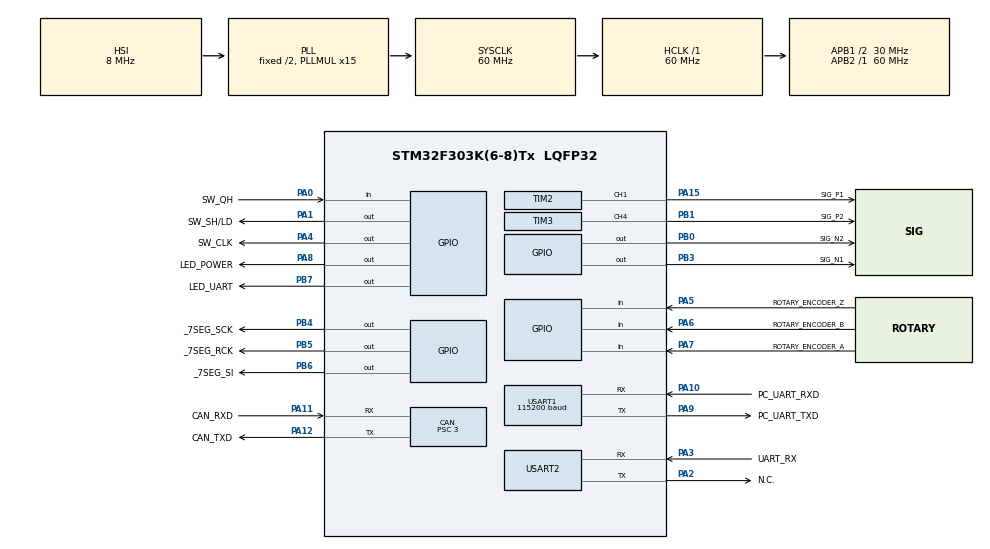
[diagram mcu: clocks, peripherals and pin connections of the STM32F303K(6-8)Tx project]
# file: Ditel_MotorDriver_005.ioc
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CAN.BS1=CAN_BS1_7TQ
CAN.BS2=CAN_BS2_2TQ
CAN.CalculateBaudRate=1000000
CAN.CalculateTimeBit=1000
CAN.CalculateTimeQuantum=100.0
CAN.Prescaler=3
Mcu.Family=STM32F3
Mcu.Name=STM32F303K(6-8)Tx
Mcu.Package=LQFP32
NVIC.CAN_RX0_IRQn=true\:0\:0\:false\:false\:true\:true\:true\:true
NVIC.PriorityGroup=NVIC_PRIORITYGROUP_4
NVIC.USART1_IRQn=true\:0\:0\:false\:false\:true\:true\:true\:true
PA0.GPIO_Label=SW_QH
PA0.Signal=GPIO_Input
PA1.GPIO_Label=SW_SH/LD
PA1.Signal=GPIO_Output
PA10.GPIO_Label=PC_UART_RXD
PA10.Mode=Multiprocessor_communication
PA10.Signal=USART1_RX
PA11.GPIO_Label=CAN_RXD
PA11.Mode=CAN_Activate
PA11.Signal=CAN_RX
PA12.GPIO_Label=CAN_TXD
PA12.Mode=CAN_Activate
PA12.Signal=CAN_TX
PA15.GPIO_Label=SIG_P1
PA15.Signal=S_TIM2_CH1_ETR
PA2.GPIO_Label=N.C.
PA2.Mode=Multiprocessor_communication
PA2.Signal=USART2_TX
PA3.GPIO_Label=UART_RX
PA3.Mode=Multiprocessor_communication
PA3.Signal=USART2_RX
PA4.GPIO_Label=SW_CLK
PA4.Signal=GPIO_Output
PA5.GPIO_Label=ROTARY_ENCODER_Z
PA5.Signal=GPIO_Input
PA6.GPIO_Label=ROTARY_ENCODER_B
PA6.Signal=GPIO_Input
PA7.GPIO_Label=ROTARY_ENCODER_A
PA7.Signal=GPIO_Input
PA8.GPIO_Label=LED_POWER
PA8.Signal=GPIO_Output
PA9.GPIO_Label=PC_UART_TXD
PA9.Mode=Multiprocessor_communication
PA9.Signal=USART1_TX
PB0.GPIO_Label=SIG_N2
PB0.Signal=GPIO_Output
PB1.GPIO_Label=SIG_P2
PB1.Signal=S_TIM3_CH4
PB3.GPIO_Label=SIG_N1
PB3.Signal=GPIO_Output
PB4.GPIO_Label=_7SEG_SCK
PB4.Signal=GPIO_Output
PB5.GPIO_Label=_7SEG_RCK
PB5.Signal=GPIO_Output
PB6.GPIO_Label=_7SEG_SI
PB6.Signal=GPIO_Output
PB7.GPIO_Label=LED_UART
PB7.Signal=GPIO_Output
ProjectManager.HeapSize=0x200
ProjectManager.StackSize=0x400
ProjectManager.TargetToolchain=STM32CubeIDE
RCC.AHBFreq_Value=60000000
RCC.APB1CLKDivider=RCC_HCLK_DIV2
RCC.APB1Freq_Value=30000000
RCC.APB1TimFreq_Value=60000000
RCC.APB2Freq_Value=60000000
RCC.APB2TimFreq_Value=60000000
RCC.CortexFreq_Value=60000000
RCC.HCLKFreq_Value=60000000
RCC.HSE_VALUE=8000000
RCC.HSI_VALUE=8000000
RCC.PLLMUL=RCC_PLL_MUL15
RCC.SYSCLKFreq_VALUE=60000000
RCC.SYSCLKSourceVirtual=RCC_SYSCLKSOURCE_PLLCLK
SH.S_TIM2_CH1_ETR.0=TIM2_CH1,PWM Generation1 CH1
SH.S_TIM3_CH4.0=TIM3_CH4,PWM Generation4 CH4
TIM1.Period=0xffff-1
TIM1.Prescaler=6-1
TIM2.Channel-PWM\ Generation1\ CH1=TIM_CHANNEL_1
TIM2.Period=60000-1
TIM2.Prescaler=0
TIM3.Channel-PWM\ Generation4\ CH4=TIM_CHANNEL_4
TIM3.Period=60000-1
USART1.BaudRate=115200
USART1.VirtualMode-Multiprocessor_communication=VM_ASYNC
USART2.VirtualMode-Multiprocessor_communication=VM_ASYNC
VP_TIM1_VS_ClockSourceINT.Mode=Internal
VP_TIM2_VS_ClockSourceINT.Mode=Internal
VP_TIM3_VS_ClockSourceINT.Mode=Internal
board=custom

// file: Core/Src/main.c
/* USER CODE BEGIN Header */
/**
  ******************************************************************************
  * @file           : main.c
  * @brief          : Main program body
  ******************************************************************************
  * @attention
  *
  * Copyright (c) 2024 STMicroelectronics.
  * All rights reserved.
  *
  * This software is licensed under terms that can be found in the LICENSE file
  * in the root directory of this software component.
  * If no LICENSE file comes with this software, it is provided AS-IS.
  *
  ******************************************************************************
  */
/* USER CODE END Header */
#include "main.h"

/* USER CODE BEGIN Includes */
#include <math.h>
/* USER CODE END Includes */

CAN_HandleTypeDef hcan;

TIM_HandleTypeDef htim1;
TIM_HandleTypeDef htim2;
TIM_HandleTypeDef htim3;

UART_HandleTypeDef huart1;
UART_HandleTypeDef huart2;

/* USER CODE BEGIN PV */
_7SEG_SETTING Setting_7Seg;
_MOTOR_SETTING Setting_Motor;
_SWITCH_SETTING Setting_Swich;
_CONSOLE_SETTING Setting_Console;
_ROTARY_ENCODER_SETTING Setting_RotaryEncoder;
_PID_SETTING Setting_PID;

_SWITCH_READ_DATA SwitchReadData;
_PID_INFOMATION_AND_RESULT PidInfoAndResult;

CAN_FilterTypeDef canFilter;

uint8_t myAddress;
uint8_t commandData[7];
uint32_t lastCommandGetTime;

CAN_RxHeaderTypeDef RxHeader;
uint8_t RxData[8];
uint8_t RxCanFlag = 0;

bool PID_ConsolDebug = true;
bool PID_isEnable = false;
__MOTOR_MODE PID_nowMotorMode = _MOTOR_MODE_NEUTRAL;
__MOTOR_MODE PID_lastMotorMode = _MOTOR_MODE_NEUTRAL;
uint16_t PID_MotorValue = 0;
_ROTARY_ENCODER_RESULT rotaryEncoderResult;
uint32_t _loopCheckCounter = 0;
uint32_t _readTimeForLoopCycle, _lastReadTimeForLoopCycle;

uint8_t lastError = 0x00;

__MOTOR_MODE nowMotorMode = _MOTOR_MODE_NEUTRAL;
uint16_t nowMotorSpeed = 0;
uint32_t nowMotorSpeedRef = 0;

__MOTOR_MODE refMotorMode_not_PID = _MOTOR_MODE_NEUTRAL;
uint16_t refMotorSpeed_not_PID = 0;

/* USER CODE END PV */

void SystemClock_Config(void);
static void MX_GPIO_Init(void);
static void MX_CAN_Init(void);
static void MX_USART1_UART_Init(void);
static void MX_USART2_UART_Init(void);
static void MX_TIM2_Init(void);
static void MX_TIM3_Init(void);
static void MX_TIM1_Init(void);
/* USER CODE BEGIN PFP */
void Init(){
	uint32_t _lastReadTick;

	//Start Program
	_Init_7Seg();
	_7SegReset();

	_7SegSetUpAnimation(_SETUP_STEP_START_PROGRAM);
	_lastReadTick = HAL_GetTick();

	//Init Motor
	_Init_Motor();

	_lastReadTick = _AccurateDelay(200, _lastReadTick);
	_7SegSetUpAnimation(_SETUP_STEP_SETUP_MOTOR);

	//Init Switch And Read State
	_Init_Switch();

	_lastReadTick = _AccurateDelay(200, _lastReadTick);
	_7SegSetUpAnimation(_SETUP_STEP_SETUP_AND_READ_SWICH);

	myAddress = SwitchReadData._Address;	//get my Address

	//Init Console
	_Init_Console();

	_lastReadTick = _AccurateDelay(200, _lastReadTick);
	_7SegSetUpAnimation(_SETUP_STEP_SETUP_CONSOLE);

	//Init Rotary Encoder
	_Init_RotaryEncoder();

	_lastReadTick = _AccurateDelay(200, _lastReadTick);
	_7SegSetUpAnimation(_SETUP_STEP_SETUP_ROTARY_ENCODER);

	//Init PID
	_Init_PID();

	_lastReadTick = _AccurateDelay(200, _lastReadTick);
	_7SegSetUpAnimation(_SETUP_STEP_SETUP_PID);

	//Init CAN
	_Init_CAN();

	_lastReadTick = _AccurateDelay(200, _lastReadTick);
	_7SegSetUpAnimation(_SETUP_STEP_SETUO_CAN);

	_lastReadTick = _AccurateDelay(200, _lastReadTick);
	_7SegSetUpAnimation(_SETUP_STEP_NULL6);

	_lastReadTick = _AccurateDelay(200, _lastReadTick);
	_7SegSetUpAnimation(_SETUP_STEP_FINISH);

	_lastReadTick = _AccurateDelay(200, _lastReadTick);
	_7SegReset();

	_lastReadTick = _AccurateDelay(200, _lastReadTick);
}

void _Init_7Seg(){
	Setting_7Seg.__7SegSi_GpioPort = _7SEG_SI_GPIO_Port;
	Setting_7Seg.__7SegSi_Pin = _7SEG_SI_Pin;
	Setting_7Seg.__7SegRck_GpioPort = _7SEG_RCK_GPIO_Port;
	Setting_7Seg.__7SegRck_Pin = _7SEG_RCK_Pin;
	Setting_7Seg.__7SegSck_GpioPort = _7SEG_SCK_GPIO_Port;
	Setting_7Seg.__7SegSck_Pin = _7SEG_SCK_Pin;

	_7SegInit(&Setting_7Seg);
	_7SegReset();
}

void _Init_Motor(){
	Setting_Motor.__MotorP1_Tim = &htim2;
	Setting_Motor.__MotorP1_TimChannel = TIM_CHANNEL_1;
	Setting_Motor.__MotorP2_Tim = &htim3;
	Setting_Motor.__MotorP2_TimChannel = TIM_CHANNEL_4;

	Setting_Motor.__MotorN1_GpioPort = SIG_N1_GPIO_Port;
	Setting_Motor.__MotorN1_Pin = SIG_N1_Pin;
	Setting_Motor.__MotorN2_GpioPort = SIG_N2_GPIO_Port;
	Setting_Motor.__MotorN2_Pin = SIG_N2_Pin;

	Setting_Motor.__DeadTime_TIM = &htim1;

	_MotorInit(&Setting_Motor);
}

void _Init_Switch(){
	Setting_Swich.__ShiftRegisterClk_GpioPort = SW_CLK_GPIO_Port;
	Setting_Swich.__ShiftRegisterClk_Pin = SW_CLK_Pin;
	Setting_Swich.__ShiftRegisterQh_GpioPort = SW_QH_GPIO_Port;
	Setting_Swich.__ShiftRegisterQh_Pin = SW_QH_Pin;
	Setting_Swich.__ShiftRegisterShLd_GpioPort = SW_SH_LD_GPIO_Port;
	Setting_Swich.__ShiftRegisterShLd_Pin = SW_SH_LD_Pin;

	_SwitchInit(&Setting_Swich);
	_SwitchRead(&SwitchReadData);
}

void _Init_Console(){
	Setting_Console.__PcUart = &huart1;

	_ConsoleInit(&Setting_Console);
}

void _Init_RotaryEncoder(){
	Setting_RotaryEncoder.__RotaryEncoderA_GpioPort = ROTARY_ENCODER_A_GPIO_Port;
	Setting_RotaryEncoder.__RotaryEncoderA_Pin = ROTARY_ENCODER_A_Pin;
	Setting_RotaryEncoder.__RotaryEncoderB_GpioPort = ROTARY_ENCODER_B_GPIO_Port;
	Setting_RotaryEncoder.__RotaryEncoderB_Pin = ROTARY_ENCODER_B_Pin;
	Setting_RotaryEncoder.__RotaryEncoderZ_GpioPort = ROTARY_ENCODER_Z_GPIO_Port;
	Setting_RotaryEncoder.__RotaryEncoderZ_Pin = ROTARY_ENCODER_Z_Pin;

	Setting_RotaryEncoder.__MesureTime_TIM = &htim1;

	_RotaryEncoderInit(&Setting_RotaryEncoder);
}

void _Init_PID(){
	Setting_PID._PID_Setting_Kp = 2.0;
	Setting_PID._PID_Setting_Ki = 5.0;
	Setting_PID._PID_Setting_Kd = 0.05;

	Setting_PID._PID_Setting_loopCycleTime = _CONTROL_LOOP_CYCLE;

	_PidInit(&Setting_PID);
}

void _Init_CAN(){
	  uint32_t filterId = myAddress << 21;
	  canFilter.FilterIdHigh = filterId >> 16;
	  canFilter.FilterIdLow = filterId;
	  canFilter.FilterMaskIdHigh = 0;
	  canFilter.FilterMaskIdLow = 0;
	  canFilter.FilterScale = CAN_FILTERSCALE_32BIT;
	  canFilter.FilterFIFOAssignment = CAN_FILTER_FIFO0;
	  canFilter.FilterBank = 0;
	  canFilter.FilterMode = CAN_FILTERMODE_IDLIST;
	  canFilter.SlaveStartFilterBank = 14;
	  canFilter.FilterActivation = ENABLE;
	  HAL_CAN_ConfigFilter(&hcan, &canFilter);

	  HAL_CAN_Start(&hcan);
	  HAL_CAN_ActivateNotification(&hcan, CAN_IT_RX_FIFO0_MSG_PENDING);
}

uint8_t DeriveUpper2digits(double _value){
	_value *= 100.0;

	uint16_t n = 0;

	while(true){
		if((int)(_value / pow(10.0, n)) == 0)
			break;
		n++;
	}

	if((_value / 100.0) >= 1.0)
		return (uint8_t)(_value / (pow(10.0, n - 2) <= 0.0 ? 1.0 : pow(10.0, n - 2)));
	else
		return (uint8_t)(_value / (pow(10.0, n - 2) <= 0.0 ? 1.0 : pow(10.0, n - 2))) / 10;
}

void CommandIdentification(_COMMAND _command, uint8_t _data[]){
	if(_command >= COMMAND_NORMAL_FORWARD && _command <= COMMAND_NORMAL_BRAKE){	//Normal Mode
		lastError = 0;
		uint16_t _motorSpeed = (_data[0] << 8) | (_data[1] << 0);

		if(_motorSpeed >= __MOTOR_MAX_SPEED){
			lastError = ERROR_INCORRECT_SPECIFIED_MOTOR_POWER;
			_7SegDisplay(ERROR_INCORRECT_SPECIFIED_MOTOR_POWER, false);
			refMotorMode_not_PID = _MOTOR_MODE_NEUTRAL;
			refMotorSpeed_not_PID = 0;
			return;
		}

		switch((uint8_t)_command){
		case COMMAND_NORMAL_FORWARD:
			_7SegDisplay((uint8_t)(_motorSpeed / __7SEG_MOTOR_POWER_NORMAL_MODE_RATIO), false);
			refMotorMode_not_PID = _MOTOR_MODE_FORWARD;
			refMotorSpeed_not_PID = _motorSpeed;
			break;

		case COMMAND_NORMAL_REVERSAL:
			_7SegDisplay((uint8_t)(_motorSpeed / __7SEG_MOTOR_POWER_NORMAL_MODE_RATIO), true);
			refMotorMode_not_PID = _MOTOR_MODE_REVARCE;
			refMotorSpeed_not_PID = _motorSpeed;
			break;

		case COMMAND_NORMAL_NEUTRAL:
			_7SegDisplay(__7SEG_MOTOR_MODE_NEUTRAL, false);
			refMotorMode_not_PID = _MOTOR_MODE_NEUTRAL;
			refMotorSpeed_not_PID = 0;
			break;

		case COMMAND_NORMAL_BRAKE:
			_7SegDisplay(__7SEG_MOTOR_MODE_BREAK, false);
			refMotorMode_not_PID = _MOTOR_MODE_BREAK;
			refMotorSpeed_not_PID = 0;
			break;
		}
	}else if(_command >= COMMAND_PID_FORWARD && _command <= COMMAND_PID_BRAKE && lastError != ERROR_EXCEED_INTEGRAL_MAX){	//PID Mode
		PID_MotorValue = (_data[0] << 8) | (_data[1] << 0);

		if(PID_MotorValue >= __MOTOR_MAX_SPEED){
			lastError = ERROR_INCORRECT_SPECIFIED_MOTOR_POWER;
			_7SegDisplay(ERROR_INCORRECT_SPECIFIED_MOTOR_POWER, false);
			Motor_SetSpeed(_MOTOR_MODE_NEUTRAL, 0);
			return;
		}

		PID_lastMotorMode = PID_nowMotorMode;
		switch((uint8_t)_command){
		case COMMAND_PID_FORWARD:
			PID_nowMotorMode = _MOTOR_MODE_FORWARD;
			_7SegDisplay((uint8_t)(PID_MotorValue / __7SEG_MOTOR_POWER_NORMAL_MODE_RATIO), false);
			break;
		case COMMAND_PID_REVERSAL:
			PID_nowMotorMode = _MOTOR_MODE_REVARCE;
			_7SegDisplay((uint8_t)(PID_MotorValue / __7SEG_MOTOR_POWER_NORMAL_MODE_RATIO), true);
			break;
		case COMMAND_PID_NEUTRAL:
			PID_nowMotorMode = _MOTOR_MODE_NEUTRAL;
			_7SegDisplay(__7SEG_MOTOR_MODE_NEUTRAL, false);
			break;
		case COMMAND_PID_BRAKE:
			PID_nowMotorMode = _MOTOR_MODE_BREAK;
			_7SegDisplay(__7SEG_MOTOR_MODE_BREAK, false);
			break;
		}

		if(PID_lastMotorMode != PID_nowMotorMode){
			lastError = 0;
			_lastReadTimeForLoopCycle = _readTimeForLoopCycle = HAL_GetTick();
			PidInfoAndResult.__IntegralOfdeviation = 0.0;
			PidInfoAndResult.__LastDeviation = 0.0;
		}
	}else if(_command == COMMAND_PID_SET_GAIN){
		lastError = 0;
		uint32_t _displayBeginTime;
		double _Kp, _Ki, _Kd;
		_Kp = ((double)((uint16_t)(_data[0] << 8) | (_data[1] << 0))) / 100.0;
		_Ki = ((double)((uint16_t)(_data[2] << 8) | (_data[3] << 0))) / 100.0;
		_Kd = ((double)((uint16_t)(_data[4] << 8) | (_data[5] << 0))) / 100.0;

		if(_Kp < 0.0 || _Kp > PID_GAIN_MAX_VALUE){
			lastError = ERROR_INCORRECT_PID_GAIN;
			_7SegDisplay(ERROR_INCORRECT_PID_GAIN, false);
			return;
		}else if(_Ki < 0.0 || _Ki > PID_GAIN_MAX_VALUE){
			lastError = ERROR_INCORRECT_PID_GAIN;
			_7SegDisplay(ERROR_INCORRECT_PID_GAIN, false);
			return;
		}else if(_Kd < 0.0 || _Kd > PID_GAIN_MAX_VALUE){
			lastError = ERROR_INCORRECT_PID_GAIN;
			_7SegDisplay(ERROR_INCORRECT_PID_GAIN, false);
			return;
		}

		Setting_PID._PID_Setting_Kp = _Kp;
		Setting_PID._PID_Setting_Ki = _Ki;
		Setting_PID._PID_Setting_Kd = _Kd;

		_7SegDisplay1digit(DeriveUpper2digits(Setting_PID._PID_Setting_Kp) % 10, (Setting_PID._PID_Setting_Kp < 100.0 && Setting_PID._PID_Setting_Kp >= 10.0));
		_7SegDisplay1digit(DeriveUpper2digits(Setting_PID._PID_Setting_Kp) / 10, (Setting_PID._PID_Setting_Kp < 10.0 && Setting_PID._PID_Setting_Kp >= 0.1));
		_displayBeginTime = HAL_GetTick();

		while((HAL_GetTick() - _displayBeginTime) < 1000 && RxCanFlag == 0)
			;

		_7SegDisplay1digit(DeriveUpper2digits(Setting_PID._PID_Setting_Ki) % 10, (Setting_PID._PID_Setting_Ki < 100.0 && Setting_PID._PID_Setting_Ki >= 10));
		_7SegDisplay1digit(DeriveUpper2digits(Setting_PID._PID_Setting_Ki) / 10, (Setting_PID._PID_Setting_Ki < 10.0 && Setting_PID._PID_Setting_Ki >= 0.1));
		_displayBeginTime = HAL_GetTick();

		while((HAL_GetTick() - _displayBeginTime) < 1000 && RxCanFlag == 0)
			;

		_7SegDisplay1digit(DeriveUpper2digits(Setting_PID._PID_Setting_Kd) % 10, (Setting_PID._PID_Setting_Kd < 100.0 && Setting_PID._PID_Setting_Kd >= 10));
		_7SegDisplay1digit(DeriveUpper2digits(Setting_PID._PID_Setting_Kd) / 10, (Setting_PID._PID_Setting_Kd < 10.0 && Setting_PID._PID_Setting_Kd >= 0.1));
		_displayBeginTime = HAL_GetTick();

		while((HAL_GetTick() - _displayBeginTime) < 1000 && RxCanFlag == 0)
			;
	}else if(_command == COMMAND_PID_SET_CONDITION){
		lastError = 0;
		if(_data[0] == 0x00){
			PID_isEnable = false;
			_7SegDisplay1digit(0x00, false);
			__7Seg1byteDisplay(~(0b00011111 | 0b00000000));
		}else{
			PID_isEnable = true;
			_7SegDisplay1digit(0x01, false);
			__7Seg1byteDisplay(~(0b00011111 | 0b00000000));

			PID_lastMotorMode = PID_nowMotorMode;
			_lastReadTimeForLoopCycle = _readTimeForLoopCycle = HAL_GetTick();
			PidInfoAndResult.__IntegralOfdeviation = 0.0;
			PidInfoAndResult.__LastDeviation = 0.0;
		}
	}else if(lastError != ERROR_EXCEED_INTEGRAL_MAX){
		lastError = ERROR_INCORRECT_COMMAND;
		_7SegDisplay(ERROR_INCORRECT_COMMAND, false);
		Motor_SetSpeed(_MOTOR_MODE_NEUTRAL, 0);
	}
}

void PID_MotorControl(__MOTOR_MODE _targetMode, uint16_t __targetValue){
	if(_targetMode == _MOTOR_MODE_NEUTRAL || _targetMode == _MOTOR_MODE_BREAK)
		__targetValue = 0;

	PidInfoAndResult._targetValue = __targetValue;

	rotaryEncoderResult = _RotaryEncoder_Get1Cycle_TimePeriod();

	if(PID_ConsolDebug)
		Dprintf(">Target Value:%u\n", (uint16_t)(PidInfoAndResult._targetValue));

	if(rotaryEncoderResult._isSuccessGet1CycleTimePerioCount){
		PidInfoAndResult._mesuredValue = (10000000.0 / (double)rotaryEncoderResult._RotaryEncoder_1CycleTimePeriodCount);

		if(PID_ConsolDebug)
			Dprintf(">Control Amount:%u\n", (uint16_t)(PidInfoAndResult._mesuredValue));
	}else{
		PidInfoAndResult._mesuredValue = 0;
		if(PID_ConsolDebug)
			Dprintf(">Control Amount:0\n");
	}

	_PID(&PidInfoAndResult);

	if(PidInfoAndResult._operationAmount > 60000.0){
		PidInfoAndResult._operationAmount = 60000.0;
	}else if(PidInfoAndResult._operationAmount < 0){
		PidInfoAndResult._operationAmount = 0.0;
	}

	if(PID_ConsolDebug)
		  Dprintf(">Operation Amount:%u\n", (uint16_t)PidInfoAndResult._operationAmount);

	Motor_SetSpeed(_targetMode, (uint16_t)PidInfoAndResult._operationAmount);

	if(PID_ConsolDebug){
		Dprintf(">Loop Check Counter:%u\n", _loopCheckCounter);
		Dprintf(">Integral Of deviation:%u\n", (uint16_t)(PidInfoAndResult.__IntegralOfdeviation));
	}

	if((uint16_t)PidInfoAndResult.__IntegralOfdeviation > PID_MAX_INTEGRAL_OF_DEBIATION){
		lastError = ERROR_EXCEED_INTEGRAL_MAX;
		_7SegDisplay(ERROR_EXCEED_INTEGRAL_MAX, false);
		Motor_SetSpeed(_MOTOR_MODE_NEUTRAL, 0);
		PID_isEnable = false;
	}
}

uint16_t _Motor_Amplitude_Optimization(uint32_t _x){
	double _y = pow((double)_x / pow(60000.0, 3.0/4.0), 4.0);
	return (uint16_t)_y;
}

uint32_t _Re_Motor_Amplitude_Optimization(uint16_t _x){
	double _y = pow(60000.0, 3.0/4.0)*pow((double)_x, 1.0/4.0);
	return (uint32_t)_y;
}

void Motor_SetSpeed(const __MOTOR_MODE _targetMode, const uint16_t _targetSpeed){
	if(_targetMode != nowMotorMode){
		nowMotorMode = _targetMode;
		nowMotorSpeedRef = 0;
		nowMotorSpeed = 0;
		_MotorSetSpeed(nowMotorMode, nowMotorSpeed);
	}else if(_targetSpeed <= nowMotorSpeed){
		nowMotorMode = _targetMode;
		nowMotorSpeed = _targetSpeed;
		nowMotorSpeedRef = _Re_Motor_Amplitude_Optimization(_targetSpeed);
		_MotorSetSpeed(nowMotorMode, nowMotorSpeed);
		return;
	}

	if(_targetMode == _MOTOR_MODE_NEUTRAL || _targetMode == _MOTOR_MODE_BREAK){
		nowMotorMode = _targetMode;
		nowMotorSpeedRef = 0;
		nowMotorSpeed = 0;
		_MotorSetSpeed(nowMotorMode, nowMotorSpeed);
		return;
	}else{
		nowMotorMode = _targetMode;
		nowMotorSpeedRef += MOTOR_SPEED_AMPLITUDE;
		nowMotorSpeed = _Motor_Amplitude_Optimization(nowMotorSpeedRef);

		if(nowMotorSpeed >= _targetSpeed){
			nowMotorSpeed = _targetSpeed;

			_MotorSetSpeed(nowMotorMode, nowMotorSpeed);
			return;
		}else{
			_MotorSetSpeed(nowMotorMode, nowMotorSpeed);
		}
	}
}

void HAL_CAN_RxFifo0MsgPendingCallback(CAN_HandleTypeDef *hcan){
	if(HAL_CAN_GetRxMessage(hcan, CAN_RX_FIFO0, &RxHeader, RxData) == HAL_OK){
		HAL_GPIO_TogglePin(LED_UART_GPIO_Port, LED_UART_Pin);
		RxCanFlag = 1;
	}
}
/* USER CODE END PFP */

int main(void)
{

  /* MCU Configuration--------------------------------------------------------*/

  /* Reset of all peripherals, Initializes the Flash interface and the Systick. */
  HAL_Init();

  /* Configure the system clock */
  SystemClock_Config();

  /* Initialize all configured peripherals */
  MX_GPIO_Init();
  MX_CAN_Init();
  MX_USART1_UART_Init();
  MX_USART2_UART_Init();
  MX_TIM2_Init();
  MX_TIM3_Init();
  MX_TIM1_Init();
  /* USER CODE BEGIN 2 */
  HAL_GPIO_WritePin(LED_POWER_GPIO_Port, LED_POWER_Pin, GPIO_PIN_SET); //Power Led ON

  Init(); //Init

  _7SegDisplay(myAddress, false);	//Display my Address

  HAL_Delay(2000);

  lastCommandGetTime = HAL_GetTick();

  /* USER CODE END 2 */

  /* Infinite loop */
  /* USER CODE BEGIN WHILE */
  while (1)
  {
	  while(!(RxCanFlag == 1)){
		  if((HAL_GetTick() - lastCommandGetTime) > TIME_OUT_LENGTH){
			  if(lastError != ERROR_EXCEED_INTEGRAL_MAX){
				  lastError = ERROR_TIMEOUT;
				  _7SegDisplay(ERROR_TIMEOUT, false);
			  }
			  Motor_SetSpeed(_MOTOR_MODE_NEUTRAL, 0);
			  PID_isEnable = false;

			  while(!(RxCanFlag == 1))
				  ;
		  }

		  if(PID_isEnable){
			  PID_MotorControl(PID_nowMotorMode, PID_MotorValue);
		  }else{
			  Motor_SetSpeed(refMotorMode_not_PID, refMotorSpeed_not_PID);
		  }

		  _loopCheckCounter = 0;
		  while((_readTimeForLoopCycle - _lastReadTimeForLoopCycle) < _CONTROL_LOOP_CYCLE){
			  _readTimeForLoopCycle = HAL_GetTick();
			  _loopCheckCounter++;
		  }
		  _lastReadTimeForLoopCycle = _readTimeForLoopCycle;
	  }

	  lastCommandGetTime = HAL_GetTick();

	  for(uint8_t _i = 0; _i < COMMAND_DATA_SIZE; _i++)
		  commandData[_i] = 0;

	  if(RxCanFlag == 1){
		  RxCanFlag = 0;

		  if(RxHeader.DLC != CAN_DATA_SIZE){
			  lastError = ERROR_INCORRECT_DATA_SIZE;
			  _7SegDisplay(ERROR_INCORRECT_DATA_SIZE, false);
			  Motor_SetSpeed(_MOTOR_MODE_NEUTRAL, 0);
		  	continue;
		  }else{
			  for(uint8_t _i = 0; _i < COMMAND_DATA_SIZE; _i++)
				  commandData[_i] = RxData[_i + 1];
		  }
	  }

	  CommandIdentification(RxData[0], commandData);
    /* USER CODE END WHILE */

  }
}

void SystemClock_Config(void)
{
  RCC_OscInitTypeDef RCC_OscInitStruct = {0};
  RCC_ClkInitTypeDef RCC_ClkInitStruct = {0};
  RCC_PeriphCLKInitTypeDef PeriphClkInit = {0};

  /** Initializes the RCC Oscillators according to the specified parameters
  * in the RCC_OscInitTypeDef structure.
  */
  RCC_OscInitStruct.OscillatorType = RCC_OSCILLATORTYPE_HSI;
  RCC_OscInitStruct.HSIState = RCC_HSI_ON;
  RCC_OscInitStruct.HSICalibrationValue = RCC_HSICALIBRATION_DEFAULT;
  RCC_OscInitStruct.PLL.PLLState = RCC_PLL_ON;
  RCC_OscInitStruct.PLL.PLLSource = RCC_PLLSOURCE_HSI;
  RCC_OscInitStruct.PLL.PLLMUL = RCC_PLL_MUL15;
  if (HAL_RCC_OscConfig(&RCC_OscInitStruct) != HAL_OK)
  {
    Error_Handler();
  }

  /** Initializes the CPU, AHB and APB buses clocks
  */
  RCC_ClkInitStruct.ClockType = RCC_CLOCKTYPE_HCLK|RCC_CLOCKTYPE_SYSCLK
                              |RCC_CLOCKTYPE_PCLK1|RCC_CLOCKTYPE_PCLK2;
  RCC_ClkInitStruct.SYSCLKSource = RCC_SYSCLKSOURCE_PLLCLK;
  RCC_ClkInitStruct.AHBCLKDivider = RCC_SYSCLK_DIV1;
  RCC_ClkInitStruct.APB1CLKDivider = RCC_HCLK_DIV2;
  RCC_ClkInitStruct.APB2CLKDivider = RCC_HCLK_DIV1;

  if (HAL_RCC_ClockConfig(&RCC_ClkInitStruct, FLASH_LATENCY_2) != HAL_OK)
  {
    Error_Handler();
  }
  PeriphClkInit.PeriphClockSelection = RCC_PERIPHCLK_USART1|RCC_PERIPHCLK_TIM1;
  PeriphClkInit.Usart1ClockSelection = RCC_USART1CLKSOURCE_PCLK1;
  PeriphClkInit.Tim1ClockSelection = RCC_TIM1CLK_HCLK;
  if (HAL_RCCEx_PeriphCLKConfig(&PeriphClkInit) != HAL_OK)
  {
    Error_Handler();
  }
}

static void MX_CAN_Init(void)
{

  hcan.Instance = CAN;
  hcan.Init.Prescaler = 3;
  hcan.Init.Mode = CAN_MODE_NORMAL;
  hcan.Init.SyncJumpWidth = CAN_SJW_1TQ;
  hcan.Init.TimeSeg1 = CAN_BS1_7TQ;
  hcan.Init.TimeSeg2 = CAN_BS2_2TQ;
  hcan.Init.TimeTriggeredMode = DISABLE;
  hcan.Init.AutoBusOff = DISABLE;
  hcan.Init.AutoWakeUp = DISABLE;
  hcan.Init.AutoRetransmission = DISABLE;
  hcan.Init.ReceiveFifoLocked = DISABLE;
  hcan.Init.TransmitFifoPriority = DISABLE;
  if (HAL_CAN_Init(&hcan) != HAL_OK)
  {
    Error_Handler();
  }

}

static void MX_TIM1_Init(void)
{

  TIM_ClockConfigTypeDef sClockSourceConfig = {0};
  TIM_MasterConfigTypeDef sMasterConfig = {0};

  htim1.Instance = TIM1;
  htim1.Init.Prescaler = 6-1;
  htim1.Init.CounterMode = TIM_COUNTERMODE_UP;
  htim1.Init.Period = 0xffff-1;
  htim1.Init.ClockDivision = TIM_CLOCKDIVISION_DIV1;
  htim1.Init.RepetitionCounter = 0;
  htim1.Init.AutoReloadPreload = TIM_AUTORELOAD_PRELOAD_DISABLE;
  if (HAL_TIM_Base_Init(&htim1) != HAL_OK)
  {
    Error_Handler();
  }
  sClockSourceConfig.ClockSource = TIM_CLOCKSOURCE_INTERNAL;
  if (HAL_TIM_ConfigClockSource(&htim1, &sClockSourceConfig) != HAL_OK)
  {
    Error_Handler();
  }
  sMasterConfig.MasterOutputTrigger = TIM_TRGO_RESET;
  sMasterConfig.MasterOutputTrigger2 = TIM_TRGO2_RESET;
  sMasterConfig.MasterSlaveMode = TIM_MASTERSLAVEMODE_DISABLE;
  if (HAL_TIMEx_MasterConfigSynchronization(&htim1, &sMasterConfig) != HAL_OK)
  {
    Error_Handler();
  }

}

static void MX_TIM2_Init(void)
{

  TIM_ClockConfigTypeDef sClockSourceConfig = {0};
  TIM_MasterConfigTypeDef sMasterConfig = {0};
  TIM_OC_InitTypeDef sConfigOC = {0};

  htim2.Instance = TIM2;
  htim2.Init.Prescaler = 0;
  htim2.Init.CounterMode = TIM_COUNTERMODE_UP;
  htim2.Init.Period = 60000-1;
  htim2.Init.ClockDivision = TIM_CLOCKDIVISION_DIV1;
  htim2.Init.AutoReloadPreload = TIM_AUTORELOAD_PRELOAD_DISABLE;
  if (HAL_TIM_Base_Init(&htim2) != HAL_OK)
  {
    Error_Handler();
  }
  sClockSourceConfig.ClockSource = TIM_CLOCKSOURCE_INTERNAL;
  if (HAL_TIM_ConfigClockSource(&htim2, &sClockSourceConfig) != HAL_OK)
  {
    Error_Handler();
  }
  if (HAL_TIM_PWM_Init(&htim2) != HAL_OK)
  {
    Error_Handler();
  }
  sMasterConfig.MasterOutputTrigger = TIM_TRGO_RESET;
  sMasterConfig.MasterSlaveMode = TIM_MASTERSLAVEMODE_DISABLE;
  if (HAL_TIMEx_MasterConfigSynchronization(&htim2, &sMasterConfig) != HAL_OK)
  {
    Error_Handler();
  }
  sConfigOC.OCMode = TIM_OCMODE_PWM1;
  sConfigOC.Pulse = 0;
  sConfigOC.OCPolarity = TIM_OCPOLARITY_HIGH;
  sConfigOC.OCFastMode = TIM_OCFAST_DISABLE;
  if (HAL_TIM_PWM_ConfigChannel(&htim2, &sConfigOC, TIM_CHANNEL_1) != HAL_OK)
  {
    Error_Handler();
  }
  HAL_TIM_MspPostInit(&htim2);

}

static void MX_TIM3_Init(void)
{

  TIM_ClockConfigTypeDef sClockSourceConfig = {0};
  TIM_MasterConfigTypeDef sMasterConfig = {0};
  TIM_OC_InitTypeDef sConfigOC = {0};

  htim3.Instance = TIM3;
  htim3.Init.Prescaler = 0;
  htim3.Init.CounterMode = TIM_COUNTERMODE_UP;
  htim3.Init.Period = 60000-1;
  htim3.Init.ClockDivision = TIM_CLOCKDIVISION_DIV1;
  htim3.Init.AutoReloadPreload = TIM_AUTORELOAD_PRELOAD_DISABLE;
  if (HAL_TIM_Base_Init(&htim3) != HAL_OK)
  {
    Error_Handler();
  }
  sClockSourceConfig.ClockSource = TIM_CLOCKSOURCE_INTERNAL;
  if (HAL_TIM_ConfigClockSource(&htim3, &sClockSourceConfig) != HAL_OK)
  {
    Error_Handler();
  }
  if (HAL_TIM_PWM_Init(&htim3) != HAL_OK)
  {
    Error_Handler();
  }
  sMasterConfig.MasterOutputTrigger = TIM_TRGO_RESET;
  sMasterConfig.MasterSlaveMode = TIM_MASTERSLAVEMODE_DISABLE;
  if (HAL_TIMEx_MasterConfigSynchronization(&htim3, &sMasterConfig) != HAL_OK)
  {
    Error_Handler();
  }
  sConfigOC.OCMode = TIM_OCMODE_PWM1;
  sConfigOC.Pulse = 0;
  sConfigOC.OCPolarity = TIM_OCPOLARITY_HIGH;
  sConfigOC.OCFastMode = TIM_OCFAST_DISABLE;
  if (HAL_TIM_PWM_ConfigChannel(&htim3, &sConfigOC, TIM_CHANNEL_4) != HAL_OK)
  {
    Error_Handler();
  }
  HAL_TIM_MspPostInit(&htim3);

}

static void MX_USART1_UART_Init(void)
{

  huart1.Instance = USART1;
  huart1.Init.BaudRate = 115200;
  huart1.Init.WordLength = UART_WORDLENGTH_8B;
  huart1.Init.StopBits = UART_STOPBITS_1;
  huart1.Init.Parity = UART_PARITY_NONE;
  huart1.Init.Mode = UART_MODE_TX_RX;
  huart1.Init.HwFlowCtl = UART_HWCONTROL_NONE;
  huart1.Init.OverSampling = UART_OVERSAMPLING_16;
  huart1.Init.OneBitSampling = UART_ONE_BIT_SAMPLE_DISABLE;
  huart1.AdvancedInit.AdvFeatureInit = UART_ADVFEATURE_NO_INIT;
  if (HAL_MultiProcessor_Init(&huart1, 0, UART_WAKEUPMETHOD_IDLELINE) != HAL_OK)
  {
    Error_Handler();
  }

}

static void MX_USART2_UART_Init(void)
{

  huart2.Instance = USART2;
  huart2.Init.BaudRate = 38400;
  huart2.Init.WordLength = UART_WORDLENGTH_8B;
  huart2.Init.StopBits = UART_STOPBITS_1;
  huart2.Init.Parity = UART_PARITY_NONE;
  huart2.Init.Mode = UART_MODE_TX_RX;
  huart2.Init.HwFlowCtl = UART_HWCONTROL_NONE;
  huart2.Init.OverSampling = UART_OVERSAMPLING_16;
  huart2.Init.OneBitSampling = UART_ONE_BIT_SAMPLE_DISABLE;
  huart2.AdvancedInit.AdvFeatureInit = UART_ADVFEATURE_NO_INIT;
  if (HAL_MultiProcessor_Init(&huart2, 0, UART_WAKEUPMETHOD_IDLELINE) != HAL_OK)
  {
    Error_Handler();
  }

}

static void MX_GPIO_Init(void)
{
  GPIO_InitTypeDef GPIO_InitStruct = {0};

  /* GPIO Ports Clock Enable */
  __HAL_RCC_GPIOA_CLK_ENABLE();
  __HAL_RCC_GPIOB_CLK_ENABLE();

  /*Configure GPIO pin Output Level */
  HAL_GPIO_WritePin(GPIOA, SW_SH_LD_Pin|SW_CLK_Pin|LED_POWER_Pin, GPIO_PIN_RESET);

  /*Configure GPIO pin Output Level */
  HAL_GPIO_WritePin(GPIOB, SIG_N2_Pin|SIG_N1_Pin|_7SEG_SCK_Pin|_7SEG_RCK_Pin
                          |_7SEG_SI_Pin|LED_UART_Pin, GPIO_PIN_RESET);

  /*Configure GPIO pins : SW_QH_Pin ROTARY_ENCODER_Z_Pin ROTARY_ENCODER_B_Pin ROTARY_ENCODER_A_Pin */
  GPIO_InitStruct.Pin = SW_QH_Pin|ROTARY_ENCODER_Z_Pin|ROTARY_ENCODER_B_Pin|ROTARY_ENCODER_A_Pin;
  GPIO_InitStruct.Mode = GPIO_MODE_INPUT;
  GPIO_InitStruct.Pull = GPIO_NOPULL;
  HAL_GPIO_Init(GPIOA, &GPIO_InitStruct);

  /*Configure GPIO pins : SW_SH_LD_Pin SW_CLK_Pin LED_POWER_Pin */
  GPIO_InitStruct.Pin = SW_SH_LD_Pin|SW_CLK_Pin|LED_POWER_Pin;
  GPIO_InitStruct.Mode = GPIO_MODE_OUTPUT_PP;
  GPIO_InitStruct.Pull = GPIO_NOPULL;
  GPIO_InitStruct.Speed = GPIO_SPEED_FREQ_LOW;
  HAL_GPIO_Init(GPIOA, &GPIO_InitStruct);

  /*Configure GPIO pins : SIG_N2_Pin SIG_N1_Pin _7SEG_SCK_Pin _7SEG_RCK_Pin
                           _7SEG_SI_Pin LED_UART_Pin */
  GPIO_InitStruct.Pin = SIG_N2_Pin|SIG_N1_Pin|_7SEG_SCK_Pin|_7SEG_RCK_Pin
                          |_7SEG_SI_Pin|LED_UART_Pin;
  GPIO_InitStruct.Mode = GPIO_MODE_OUTPUT_PP;
  GPIO_InitStruct.Pull = GPIO_NOPULL;
  GPIO_InitStruct.Speed = GPIO_SPEED_FREQ_LOW;
  HAL_GPIO_Init(GPIOB, &GPIO_InitStruct);

}

void Error_Handler(void)
{
  __disable_irq();
  while (1)
  {
  }
}
